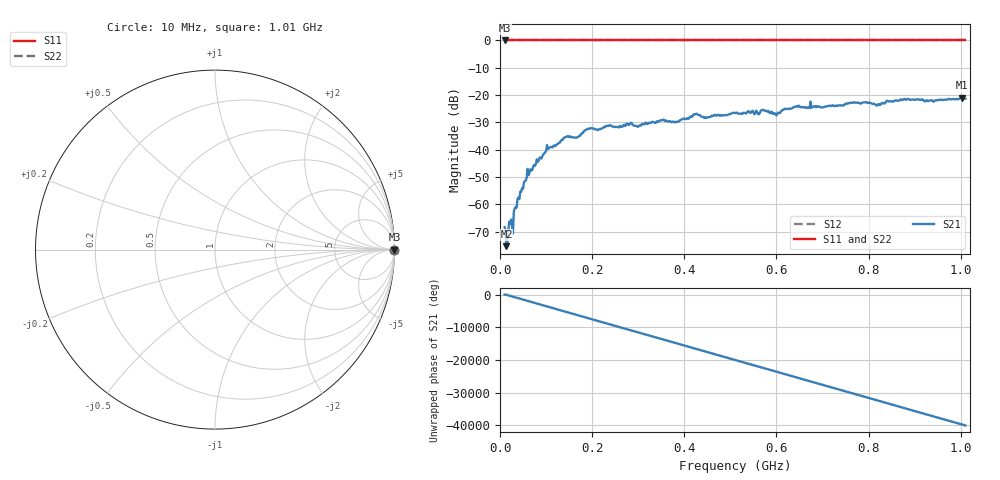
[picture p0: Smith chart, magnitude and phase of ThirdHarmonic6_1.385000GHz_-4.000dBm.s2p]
! 8/16/2025 3:45:14 PM
! C:\ANRITSUVNA\TEMP\TEMP.S2P
! CHANNEL.1
! TR.MEASUREMENT
! RAW.DATA
! RF.CORRECTION.OFF
! AVERAGING.OFF
! IF.BANDWIDTH: 5KHZ
! SWEEPTYPE:  FREQ.SWEEP(Linear)
! Reference Plane Port Info
! PORT:  PORT1  PORT2
! DISTANCE:  0  m  0  m
! TIME:  0  s  0  s
! PHASE.OFFSET:  0  deg.  0  deg.
! LOSS:  0  dB  0  dB
! REF.LOSS:  0  dB  0  dB
! REF.FREQ:  0  Hz  0  Hz
! Power Info
! POWER:  -20  dBm  -20  dBm
! EFF.POWER:  -20  dBm  -20  dBm
! SOURCE.ATTEN:  0  dB  0  dB
! TEST.ATTEN:  0  dB  0  dB
# GHZ S RI R 50.0
! FREQ.GHZ  S11RE  S11IM  S21RE  S21IM  S12RE  S12IM  S22RE  S22IM
!; PortSelection: Port_12
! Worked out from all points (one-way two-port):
!   501 points, 10 MHz to 1.01 GHz, reference 50 ohm
!   highest |S21| = -21.02 dB at 1.002 GHz (marker M1); lowest = -75.4 dB at 14 MHz (marker M2)
!   lowest |S11| = 0.0 dB at 10 MHz (marker M3)
!   |S11| at or under -10 dB: nowhere
!   |S22| runs from 0.0 to 0.0 dB; largest |S21 - S12| = 1.1
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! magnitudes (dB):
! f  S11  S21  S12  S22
! 10 MHz  0.0  -68.4  0.0  0.0
! 14 MHz  0.0  -75.4  0.0  0.0
! 26 MHz  0.0  -67.8  0.0  0.0
! 42 MHz  0.0  -58.1  0.0  0.0
! 64 MHz  0.0  -48.3  0.0  0.0
! 106 MHz  0.0  -39.5  0.0  0.0
! 144 MHz  0.0  -35.3  0.0  0.0
! 178 MHz  0.0  -34.0  0.0  0.0
! 194 MHz  0.0  -32.4  0.0  0.0
! 344 MHz  0.0  -29.8  0.0  0.0
! 384 MHz  0.0  -29.7  0.0  0.0
! 424 MHz  0.0  -27.1  0.0  0.0
! 448 MHz  0.0  -28.4  0.0  0.0
! 510 MHz  0.0  -26.6  0.0  0.0
! 572 MHz  0.0  -25.7  0.0  0.0
! 596 MHz  0.0  -26.6  0.0  0.0
! 644 MHz  0.0  -24.1  0.0  0.0
! 678 MHz  0.0  -24.4  0.0  0.0
! 820 MHz  0.0  -23.4  0.0  0.0
! 844 MHz  0.0  -22.3  0.0  0.0
! 1.002 GHz  0.0  -21.0  0.0  0.0
! 1.01 GHz  0.0  -21.3  0.0  0.0
